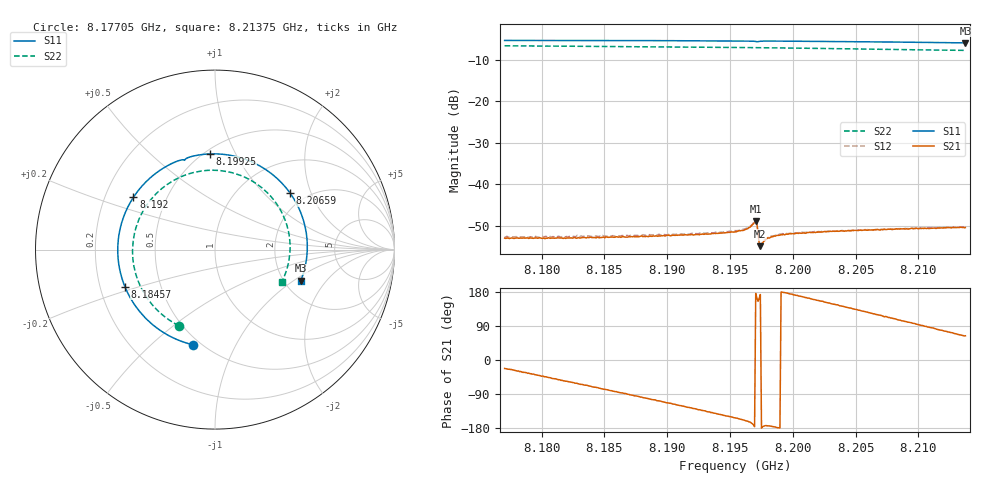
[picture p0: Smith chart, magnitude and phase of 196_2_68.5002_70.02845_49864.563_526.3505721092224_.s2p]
#  HZ  S  RI  R  50.00
! Rohde & Schwarz Vector Network Analyzer
! Rohde-Schwarz,ZNB20-2Port,1311601062101988,3.16
! Created: UTC 3/20/2024, 4:57:19 PM
! freq[Hz]  re:S11  im:S11  re:S21  im:S21  re:S12  im:S12  re:S22  im:S22
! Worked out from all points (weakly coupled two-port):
!   401 points, 8.17705 GHz to 8.21375 GHz, reference 50 ohm
!   highest |S21| = -48.88 dB at 8.19705 GHz (marker M1); lowest = -54.9 dB at 8.19742 GHz (marker M2)
!   lowest |S11| = -5.9 dB at 8.21375 GHz (marker M3), VSWR 3.07, Z = 122 - j57.4 ohm
!   |S11| at or under -10 dB: nowhere
!   |S22| runs from -7.7 to -6.6 dB; largest |S21 - S12| = 0.00018
!   S11 on the Smith chart (normalised r, x): 8.17705 GHz: 0.46, -0.69; 8.18457 GHz: 0.31, -0.18; 8.192 GHz: 0.32, +0.26; 8.19925 GHz: 0.53, +0.79; 8.20659 GHz: 1.67, +1.44; 8.21375 GHz: 2.45, -1.15
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8.17705e9  -0.1204 -0.5308  0.00208 -0.000856  0.00217 -0.000871  -0.2009 -0.424
8.179986e9  -0.3049 -0.4503  0.00164 -0.00152  0.00172 -0.00158  -0.333 -0.3259
8.183197e9  -0.4584 -0.2913  0.000985 -0.00205  0.000998 -0.00215  -0.428 -0.1754
8.184573e9  -0.502 -0.2063  0.00061 -0.00219  0.000589 -0.00227  -0.4499 -0.1023
8.186959e9  -0.5402 -0.045  -4.09e-05 -0.00235  -0.000105 -0.00236  -0.458 0.0297
8.189344e9  -0.5275 0.1208  -0.000742 -0.00228  -0.000854 -0.00235  -0.4278 0.1583
8.192004e9  -0.4547 0.2914  -0.0015 -0.00196  -0.00162 -0.002  -0.3524 0.2845
8.195399e9  -0.2842 0.4562  -0.00237 -0.00123  -0.0025 -0.00118  -0.2035 0.3994
8.196316e9  -0.2259 0.4864  -0.00273 -0.000945  -0.00282 -0.000881  -0.156 0.4187
8.196959e9  -0.1796 0.5005  -0.00348 -0.000242  -0.00361 -0.000123  -0.1212 0.4289
8.19705e9  -0.1729 0.4995  -0.00359 0.000276  -0.00368 0.000427  -0.1162 0.43
8.197417e9  -0.1595 0.5082  -0.00178 0.000222  -0.00185 0.00028  -0.0963 0.4343
8.197509e9  -0.153 0.5113  -0.00188 -9.36e-06  -0.00186 6.33e-05  -0.0912 0.4353
8.198151e9  -0.1069 0.5241  -0.00225 -0.00024  -0.00231 -9.58e-05  -0.0552 0.4404
8.199252e9  -0.0289 0.5331  -0.00249 6.46e-05  -0.00251 0.000211  0.00708 0.4417
8.201546e9  0.1318 0.5146  -0.00249 0.000862  -0.00248 0.000979  0.1347 0.4162
8.203931e9  0.2846 0.4447  -0.00216 0.00169  -0.00214 0.00178  0.2542 0.3498
8.206592e9  0.4192 0.3136  -0.00144 0.00244  -0.00139 0.00249  0.3569 0.2341
8.207693e9  0.4596 0.2465  -0.00108 0.00266  -0.000994 0.00271  0.3863 0.1757
8.209252e9  0.4984 0.1425  -0.000487 0.00285  -0.000411 0.00289  0.4122 0.0864
8.21072e9  0.5137 0.0389  0.000135 0.00295  0.000249 0.00299  0.4182 -0.00208
8.213748e9  0.4778 -0.1738  0.00133 0.00271  0.00147 0.00269  0.3714 -0.1814
